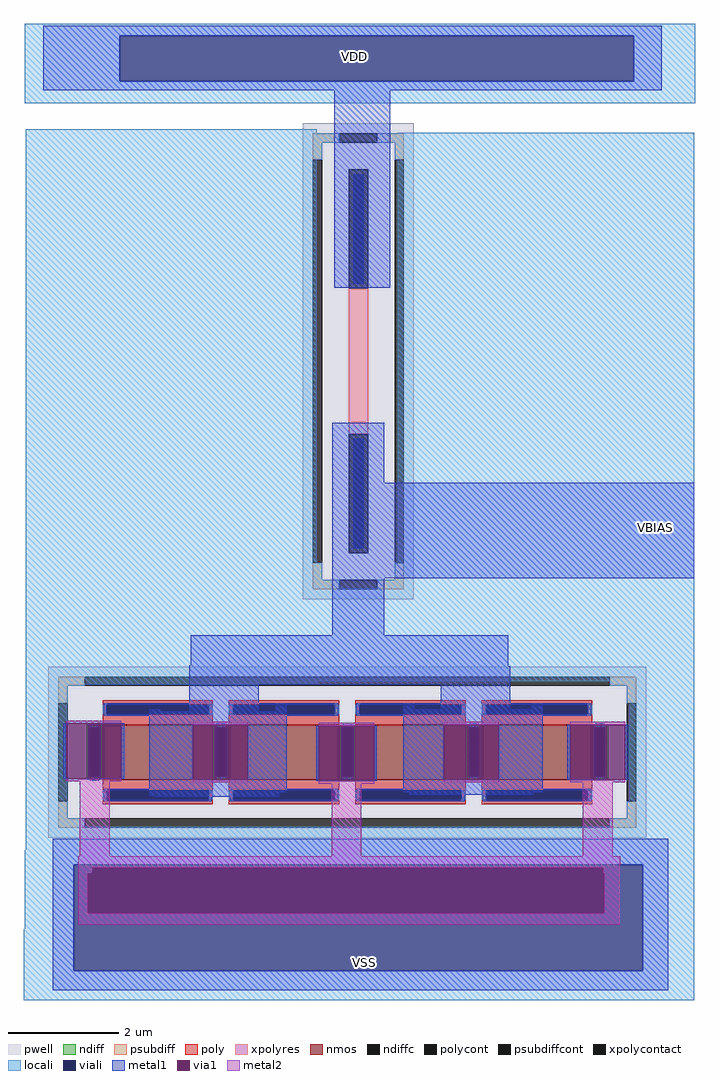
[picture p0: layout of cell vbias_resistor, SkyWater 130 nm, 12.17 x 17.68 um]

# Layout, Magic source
magic
tech sky130A
magscale 1 2
<< locali >>
rect 1052 2536 3482 2578
rect 1052 2370 1396 2536
rect 3258 2370 3482 2536
rect 1052 2290 3482 2370
rect 1056 534 2110 2196
rect 2404 534 3478 2184
rect 1056 196 3478 534
rect 1056 184 2110 196
rect 1056 -330 1206 184
rect 3242 -330 3478 196
rect 1056 -416 3478 -330
rect 1052 -468 3478 -416
rect 1052 -702 1230 -468
rect 1048 -852 1230 -702
rect 3292 -852 3478 -468
rect 1048 -958 3478 -852
<< viali >>
rect 1396 2370 3258 2536
rect 1230 -852 3292 -468
<< metal1 >>
rect 1120 2536 3360 2572
rect 1120 2370 1396 2536
rect 3258 2370 3360 2536
rect 1120 2338 3360 2370
rect 2174 1622 2376 2338
rect 2166 916 2354 1134
rect 2166 570 3478 916
rect 2166 364 2354 570
rect 1654 254 2804 364
rect 1648 252 2804 254
rect 1648 184 2812 252
rect 1504 88 1544 96
rect 1648 88 1900 184
rect 1962 88 2002 108
rect 1192 -156 1202 44
rect 1402 -156 1412 44
rect 1504 40 2002 88
rect 1504 -160 1660 40
rect 1860 -160 2002 40
rect 2424 96 2464 108
rect 2560 96 2812 184
rect 2888 96 2928 108
rect 2424 40 2928 96
rect 1504 -206 2002 -160
rect 2108 -164 2118 36
rect 2318 -164 2328 36
rect 2424 -160 2570 40
rect 2770 -160 2928 40
rect 3018 -160 3028 40
rect 3228 -160 3238 40
rect 2424 -206 2928 -160
rect 1504 -218 1974 -206
rect 2446 -214 2896 -206
rect 1524 -222 1974 -218
rect 1154 -468 3384 -374
rect 1154 -852 1230 -468
rect 3292 -852 3384 -468
rect 1154 -922 3384 -852
<< via1 >>
rect 1202 -156 1402 44
rect 1660 -160 1860 40
rect 2118 -164 2318 36
rect 2570 -160 2770 40
rect 3028 -160 3228 40
rect 1296 -498 3148 -478
rect 1280 -644 3152 -498
<< metal2 >>
rect 1202 44 1402 54
rect 1202 -166 1402 -156
rect 1660 40 1860 50
rect 1252 -438 1360 -166
rect 1660 -170 1860 -160
rect 2118 36 2318 46
rect 2118 -174 2318 -164
rect 2570 40 2770 50
rect 2570 -170 2770 -160
rect 3028 40 3228 50
rect 3028 -170 3228 -160
rect 2164 -438 2272 -174
rect 3074 -438 3182 -170
rect 1246 -478 3210 -438
rect 1246 -498 1296 -478
rect 3148 -498 3210 -478
rect 1246 -644 1280 -498
rect 3152 -644 3210 -498
rect 1246 -686 3210 -644
use sky130_fd_pr__nfet_01v8_VWWVRL  XM6
transform 1 0 2221 0 1 -60
box -1083 -310 1083 310
use sky130_fd_pr__res_xhigh_po_0p35_5BGKUX  XR1
transform 1 0 2261 0 1 1356
box -201 -862 201 862
<< labels >>
flabel metal1 2146 2360 2346 2560 0 FreeSans 256 0 0 0 VDD
port 0 nsew
flabel metal1 2184 -922 2384 -722 0 FreeSans 256 0 0 0 VSS
port 1 nsew
flabel metal1 3238 654 3438 854 0 FreeSans 256 0 0 0 VBIAS
port 2 nsew
<< end >>

# cell sky130_fd_pr__nfet_01v8_VWWVRL: kit device sky130_fd_pr__nfet_01v8, w 1.0 l 2.0 m 1 nf 4 diffcov 100 polycov 100 guard 1 glc 1 grc 1 gtc 1 gbc 1 tbcov 100 rlcov 100 topc 1 botc 1 poverlap 0 doverlap 1 lmin 0.15 wmin 0.42 compatible {sky130_fd_pr__nfet_01v8 sky130_fd_pr__nfet_01v8_lvt sky130_fd_bs_flash__special_sonosfet_star sky130_fd_pr__nfet_g5v0d10v5 sky130_fd_pr__nfet_05v0_nvt sky130_fd_pr__nfet_03v3_nvt} full_metal 1 viasrc 100 viadrn 100 viagate 100 viagb 0 viagr 0 viagl 0 viagt 0

# cell sky130_fd_pr__res_xhigh_po_0p35_5BGKUX: kit device sky130_fd_pr__res_xhigh_po_0p35, w 0.350 l 2.8 m 1 nx 1 wmin 0.350 lmin 0.50 rho 2000 val 17.075k dummy 0 dw 0.0 term 188.2 sterm 0.0 caplen 0 wmax 0.350 guard 1 glc 1 grc 1 gtc 1 gbc 1 compatible {sky130_fd_pr__res_xhigh_po_0p35 sky130_fd_pr__res_xhigh_po_0p69 sky130_fd_pr__res_xhigh_po_1p41 sky130_fd_pr__res_xhigh_po_2p85 sky130_fd_pr__res_xhigh_po_5p73} snake 0 full_metal 1 n_guard 0 hv_guard 0 vias 1 viagb 0 viagt 0 viagl 0 viagr 0
